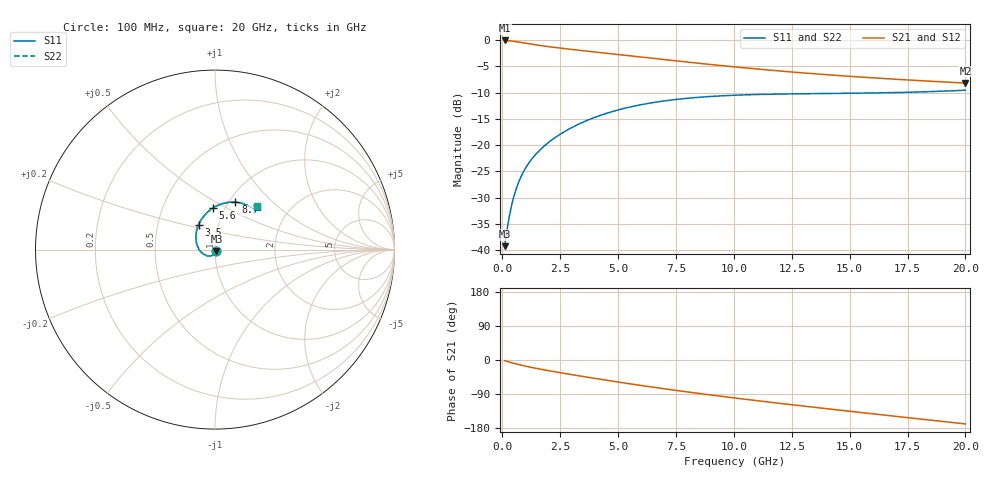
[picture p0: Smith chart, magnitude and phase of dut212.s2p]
! Touchstone file exported from HFSS 2023.1.0
!  File:  D:/Users/fzz/RDL_TSV/temp_RDL_TSV_212_1778757259.aedt
!  Generated:  7:22:00 %x4E0B%x5348  5%x6708 14, 2026
!  Design:  RDL_TSV
!  Project:  temp_RDL_TSV_212_1778757259
!  Setup:  Setup1
!  Solution:  Sweep
! Variables:
!  dtsv = 21.71um
!  hbump = 3um
!  htsv = 64.88um
!  ldown = 117.09um
!  lrdl = 422.6um
!  p = 40
!  p1 = 57.93um
!  rhole = 10um
!  subl = 2041.67um
!  t = 450um
!  tdown = 4.16um
!  trdl = 4.91um
!  viad = 10um
!  wdown = 27.9um
!  wrdl = 16.24um
!  xbump = 18um
# GHz S MA R 50.000000
! Terminal data exported
! Port[1] = TM1_1_T1
! Port[2] = TM1_4_T1
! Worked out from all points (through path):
!   200 points, 100 MHz to 20 GHz, reference 50 ohm
!   highest |S21| = -0.09 dB at 100 MHz (marker M1); lowest = -8.2 dB at 20 GHz (marker M2)
!   group delay of S21, straight-line fit = 22.1 ps
!   lowest |S11| = -39.2 dB at 100 MHz (marker M3), VSWR 1.02, Z = 50.8 - j0.739 ohm
!   |S11| at or under -10 dB: start of sweep to 16.94 GHz
!   |S22| runs from -39.2 to -9.5 dB; largest |S21 - S12| = 8.1e-15
!   S11 on the Smith chart (normalised r, x): 100 MHz: 1.02, -0.01; 3.5 GHz: 0.80, +0.23; 5.6 GHz: 0.88, +0.43; 8.7 GHz: 1.07, +0.62; 20 GHz: 1.37, +0.74
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0.1  0.01096 -41.6  0.99 -1.8  0.99 -1.8  0.01096 -41.6
! Gamma 0 0 0 0
! Port Impedance 50 0 50 0
0.2  0.01543 -67.9  0.9874 -3.7  0.9874 -3.7  0.01543 -67.9
0.3  0.02087 -85.0  0.9831 -5.5  0.9831 -5.5  0.02087 -85.0
0.4  0.02666 -97.9  0.9777 -7.2  0.9777 -7.2  0.02667 -97.9
0.5  0.03255 -108.6  0.9713 -8.8  0.9713 -8.8  0.03256 -108.6
0.6  0.03841 -118.0  0.9642 -10.4  0.9642 -10.4  0.03842 -118.0
0.8  0.04971 -134.4  0.9491 -13.5  0.9491 -13.5  0.04973 -134.4
1.1  0.06541 -154.7  0.9257 -17.6  0.9257 -17.6  0.06544 -154.7
1.5  0.08439 -176.2  0.8965 -22.5  0.8965 -22.5  0.08444 -176.3
2.1  0.1105 159.5  0.8591 -29.2  0.8591 -29.2  0.1106 159.5
2.8  0.1392 139.0  0.8227 -36.6  0.8227 -36.6  0.1393 138.9
3.5  0.1661 123.4  0.7905 -43.7  0.7905 -43.7  0.1663 123.4
4.5  0.2008 106.6  0.7478 -53.4  0.7478 -53.4  0.2011 106.5
5.6  0.2328 92.4  0.7033 -63.7  0.7033 -63.7  0.2332 92.4
6.8  0.2599 80.5  0.6578 -74.3  0.6578 -74.3  0.2603 80.5
8.7  0.2876 66.8  0.5936 -89.9  0.5936 -89.9  0.2881 66.8
10.1  0.2989 59.5  0.5531 -100.7  0.5531 -100.7  0.2994 59.5
11.7  0.3056 53.6  0.5136 -112.4  0.5136 -112.4  0.3062 53.6
13.4  0.309 49.5  0.4787 -124.3  0.4787 -124.3  0.3096 49.6
15  0.3114 47.3  0.4514 -135.3  0.4514 -135.3  0.312 47.3
16.7  0.3154 46.2  0.4271 -146.7  0.4271 -146.7  0.3161 46.3
20  0.333 46.0  0.3896 -168.7  0.3896 -168.7  0.3338 46.0
